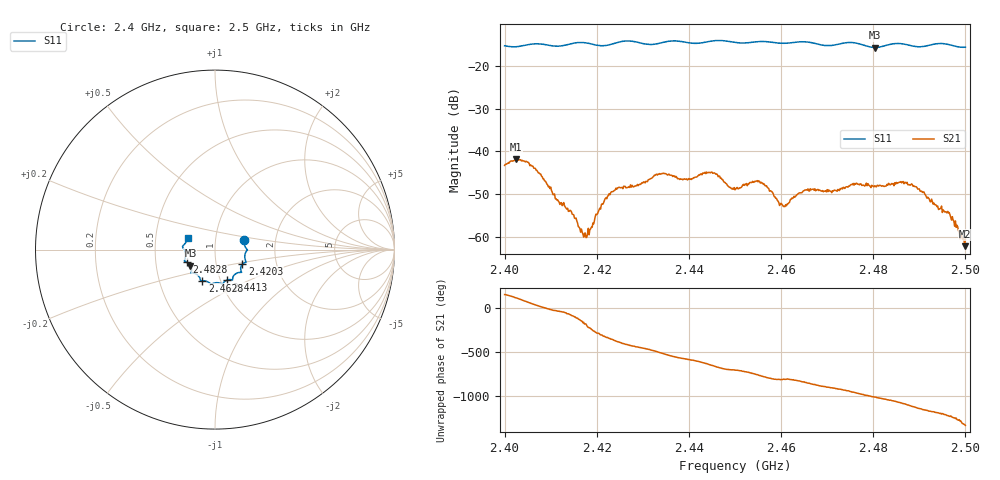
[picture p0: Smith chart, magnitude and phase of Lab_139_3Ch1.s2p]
# Hz S RI R 50
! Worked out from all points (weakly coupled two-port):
!   601 points, 2.4 GHz to 2.5 GHz, reference 50 ohm
!   highest |S21| = -41.82 dB at 2.4025 GHz (marker M1); lowest = -62.1 dB at 2.4998 GHz (marker M2)
!   lowest |S11| = -15.7 dB at 2.4803 GHz (marker M3), VSWR 1.39, Z = 37.4 - j6.83 ohm
!   |S11| at or under -10 dB: start of sweep to end of sweep
!   S12 and S22 are empty: the file has one direction only
!   S11 on the Smith chart (normalised r, x): 2.4 GHz: 1.38, +0.15; 2.4203 GHz: 1.34, -0.22; 2.4413 GHz: 1.08, -0.38; 2.4628 GHz: 0.82, -0.29; 2.4828 GHz: 0.72, -0.10; 2.5 GHz: 0.73, +0.10
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2.4e9  0.1629 0.0527  -0.00614 0.0031  0 0  0 0
2.4025e9  0.1653 0.0237  -0.00354 0.0073  0 0  0 0
2.407333e9  0.1804 -0.00173  0.00512 0.00232  0 0  0 0
2.416667e9  0.1735 -0.0696  -0.00102 -0.000714  0 0  0 0
2.418167e9  0.1684 -0.0715  -0.000976 0.000811  0 0  0 0
2.420333e9  0.1532 -0.08  0.000559 0.00191  0 0  0 0
2.424333e9  0.1446 -0.1171  0.00344 -0.00115  0 0  0 0
2.433333e9  0.1005 -0.1514  -0.00412 -0.00356  0 0  0 0
2.441333e9  0.0675 -0.1696  -0.00271 0.00422  0 0  0 0
2.445333e9  0.0428 -0.1908  0.00237 0.00507  0 0  0 0
2.45e9  0.0247 -0.1857  0.00344 0.000971  0 0  0 0
2.454833e9  -0.0155 -0.1902  0.00376 -0.00259  0 0  0 0
2.460167e9  -0.0478 -0.1766  -2.96e-05 -0.00243  0 0  0 0
2.462833e9  -0.0712 -0.1734  -0.000389 -0.00298  0 0  0 0
2.466667e9  -0.0815 -0.1671  -0.00276 -0.00232  0 0  0 0
2.480333e9  -0.1371 -0.0889  0.00131 0.00376  0 0  0 0
2.482833e9  -0.1584 -0.0702  0.00286 0.00275  0 0  0 0
2.483333e9  -0.1624 -0.0683  0.0033 0.00269  0 0  0 0
2.4895e9  -0.1644 -0.029  0.00232 -0.00299  0 0  0 0
2.496667e9  -0.1735 0.0265  -0.00156 -0.000928  0 0  0 0
2.499833e9  -0.1528 0.0615  -0.000384 0.000685  0 0  0 0
2.5e9  -0.152 0.064  -0.000305 0.000895  0 0  0 0
